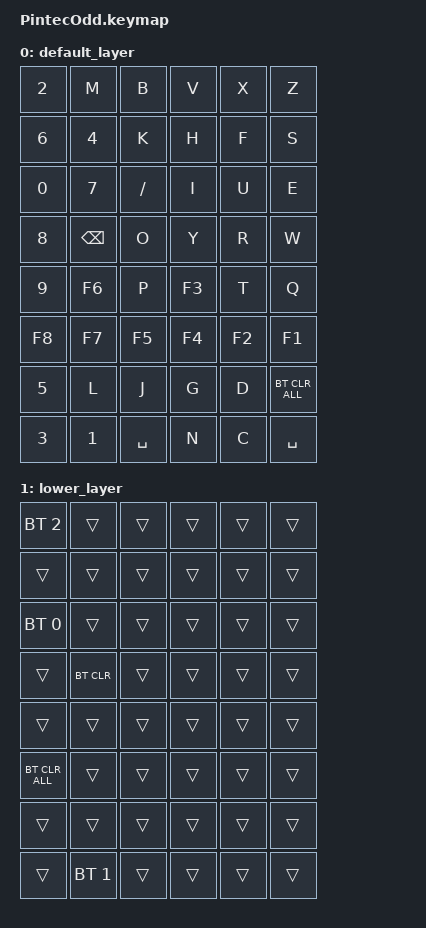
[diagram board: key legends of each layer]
#include <behaviors.dtsi>
#include <dt-bindings/zmk/keys.h>
#include <dt-bindings/zmk/bt.h>

/ { 
    keymap {
        compatible = "zmk,keymap";

        default_layer {
// ---------------------------------------------------------------------------------------------------
//            | ^1 |   | ^2 |   | ^3 |   | ^4 |   | ^5 |   | ^6 |   | ^7 |   | ^8 |
// | Q  | W  | E  | R  | T  | Y  | U  | I  | O  | P  | DEL | X/S | | P7 | P8 | P9 | P0 |
//  | A  | S  | D  | F  | G  | H  | J  | K  | L  |                | P4 | P5 | P6 |
//        | Z  | X  | C  | V  | B  | N  | M  |                       | P2 | P3 |
//       |              SPACE               |                          | P1 |
                bindings = <
    &kp N2    &kp M         &kp B     &kp V    &kp X   &kp Z
    &kp N6    &kp N4        &kp K     &kp H    &kp F   &kp S
    &kp N0    &kp N7        &kp SLASH &kp I    &kp U   &kp E
    &kp N8    &kp BACKSPACE &kp O     &kp Y    &kp R   &kp W
    &kp N9    &kp F6        &kp P     &kp F3   &kp T   &kp Q
    &kp F8    &kp F7        &kp F5    &kp F4   &kp F2  &kp F1
    &kp N5    &kp L         &kp J     &kp G    &kp D   &bt BT_CLR_ALL
    &kp N3    &kp N1       &kp SPACE &kp N   &kp C  &kp SPACE
            >;
        };
        lower_layer {
            bindings = <
    &bt BT_SEL 2   &trans       &trans &trans &trans &trans
    &trans         &trans       &trans &trans &trans &trans
    &bt BT_SEL 0   &trans       &trans &trans &trans &trans
    &trans         &bt BT_CLR   &trans &trans &trans &trans
    &trans         &trans       &trans &trans &trans &trans
    &bt BT_CLR_ALL &trans       &trans &trans &trans &trans
    &trans         &trans       &trans &trans &trans &trans
    &trans         &bt BT_SEL 1 &trans &trans &trans &trans
            >;  
        };
    };
};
